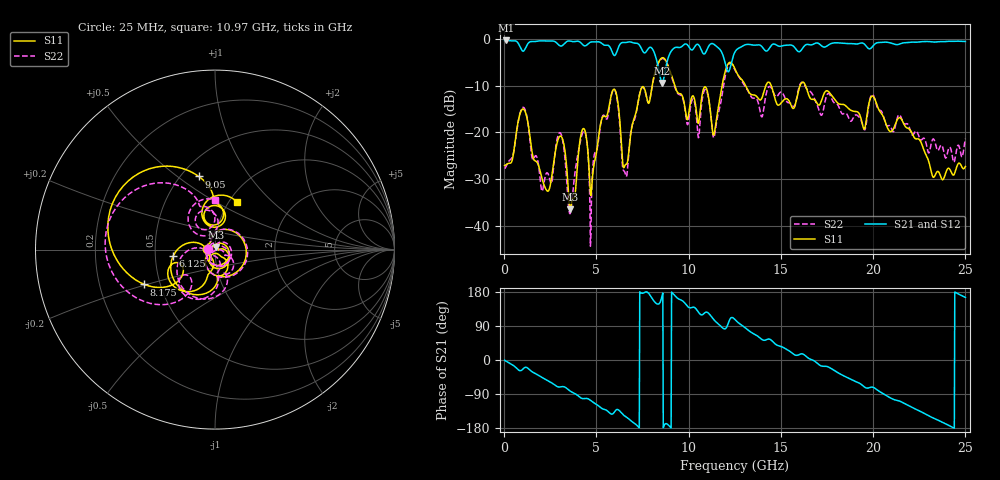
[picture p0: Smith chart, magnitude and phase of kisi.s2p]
! RG_s4_pwr_n4_cap2: Finite board 24 × 16 mm, via L1 → L4 through the GND/PWR pair L2/L3, four GND vias at 1 mm joined to L2 only (openings in the PWR plane L3), a capacitor between L2 and L3 2 mm away
! stackup: 4-layer 1.6 mm FR-4
! ports: 1 L1, 2 L4
! kisi-fdtd, conformal, dfine 0.07 mm, 805736 cells
# Hz S RI R 50
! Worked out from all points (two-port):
!   1000 points, 25 MHz to 25 GHz, reference 50 ohm
!   highest |S21| = -0.37 dB at 100 MHz (marker M1); lowest = -9.4 dB at 8.575 GHz (marker M2)
!   |S21| within 3 dB of the highest: start of sweep to 5.922 GHz; 12.45 GHz to end of sweep (the widest 2 of 4)
!   lowest |S11| = -36.4 dB at 3.575 GHz (marker M3), VSWR 1.03, Z = 50.5 + j1.44 ohm
!   |S11| at or under -10 dB: start of sweep to 8.024 GHz; 9.249 GHz to 11.81 GHz (2.566 GHz wide, 24.4 % of centre); 16.33 GHz to end of sweep (the widest 3 of 5)
!   |S22| runs from -44.3 to -4.2 dB; largest |S21 - S12| = 0.016
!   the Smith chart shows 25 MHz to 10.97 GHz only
!   S11 on the Smith chart (normalised r, x): 25 MHz: 0.92, +0.01; 6.125 GHz: 0.62, -0.05; 8.175 GHz: 0.41, -0.20; 9.05 GHz: 0.61, +0.60; 10.97 GHz: 1.09, +0.63
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2.5e7  -0.0442 0.00296  0.9581 -0.0118  0.9576 -0.0118  -0.0411 0.00208
1e8  -0.0434 0.0122  0.9573 -0.048  0.9566 -0.0477  -0.0421 0.00933
1.05e9  0.1497 -0.0951  0.6833 -0.2809  0.6771 -0.2817  0.1618 -0.0893
2.075e9  -0.0282 0.0128  0.6505 -0.6896  0.644 -0.6817  -0.0231 0.00577
3.075e9  0.0356 -0.0839  0.2758 -0.7886  0.2761 -0.7771  0.0429 -0.0868
3.575e9  0.00536 0.0142  0.1345 -0.9355  0.1387 -0.9248  0.00172 0.0134
4.2e9  0.0755 -0.0678  -0.1702 -0.8709  -0.1628 -0.879  0.0833 -0.0384
4.725e9  0.00791 -0.0216  -0.2879 -0.8787  -0.2875 -0.8889  0.0167 0.00018
5.3e9  0.059 -0.1278  -0.5453 -0.6985  -0.5543 -0.7006  0.1019 -0.0997
6.125e9  -0.2328 -0.0345  -0.4828 -0.565  -0.4811 -0.5724  -0.2084 -0.0875
6.575e9  -0.0343 -0.0296  -0.7799 -0.4674  -0.7768 -0.4734  -0.0197 -0.0299
8.175e9  -0.394 -0.1938  -0.5997 0.3139  -0.6029 0.3164  -0.304 -0.307
8.35e9  -0.5471 -0.0577  -0.4221 0.2691  -0.4183 0.2694  -0.4971 -0.2261
8.575e9  -0.5717 0.2565  -0.3348 0.0467  -0.3383 0.0462  -0.6111 0.0649
9.05e9  -0.0904 0.4075  -0.7329 -0.00802  -0.736 -0.00776  -0.2017 0.3555
1.0525e10  -0.0034 0.1246  -0.5154 0.6951  -0.5152 0.6981  -0.0244 0.0844
1.0975e10  0.1237 0.2633  -0.4447 0.6037  -0.4449 0.6071  -0.000206 0.277
1.14e10  0.00226 0.1  -0.2146 0.8372  -0.2166 0.8404  -0.0264 0.0879
1.2525e10  0.4441 0.1529  -0.2019 0.7019  -0.1975 0.6997  0.3331 0.3118
1.6675e10  -0.00506 -0.2256  0.8614 0.00979  0.8681 0.0149  0.0492 -0.2574
2.085e10  -0.1032 0.0208  -0.1233 -0.9019  -0.1208 -0.8942  -0.1018 -0.0606
2.5e10  0.016 -0.0402  -0.9021 0.2413  -0.8927 0.2539  -0.0715 -0.0468
